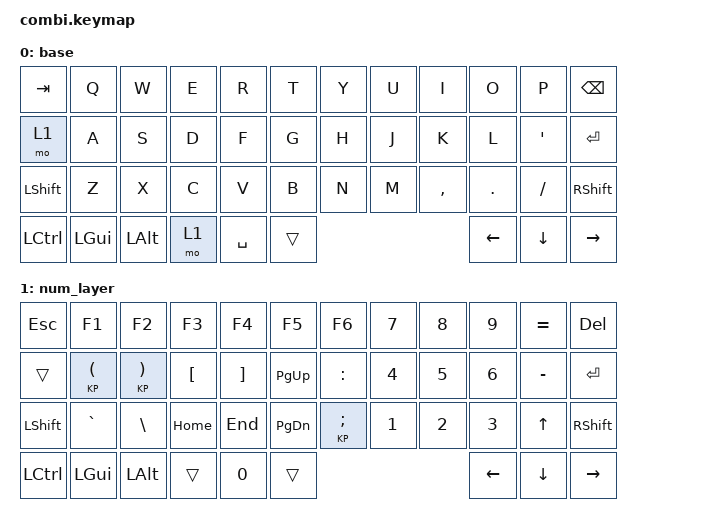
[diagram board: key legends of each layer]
#include <behaviors.dtsi>
#include <dt-bindings/zmk/keys.h>
#include <dt-bindings/zmk/bt.h>
#include <dt-bindings/zmk/outputs.h>

/ {

    behaviors {
        tabesc: tab_escape {
            compatible = "zmk,behavior-mod-morph";
            #binding-cells = <0>;
            bindings = <&kp TAB>, <&kp ESC>;
            mods = <(MOD_LALT|MOD_LSHIFT)>;
            keep-mods = <(MOD_LALT|MOD_LSHIFT)>;
        };

            #binding-cells = <2>;
            tapping-term-ms = <200>;
            quick-tap-ms = <180>;
            require-prior-idle-ms = <0>;
            flavor = "tap-preferred";
        };
    };

    keymap {
        compatible = "zmk,keymap";

        base {

            bindings = <
            
            &kp TAB         &kp Q       &kp W       &kp E       &kp R       &kp T       &kp Y       &kp U       &kp I       &kp O       &kp P        &kp BSPC
            &mo 1           &kp A       &kp S       &kp D       &kp F       &kp G       &kp H       &kp J       &kp K       &kp L       &kp SQT      &kp RET
            &kp LSHFT       &kp Z       &kp X       &kp C       &kp V       &kp B       &kp N       &kp M       &kp COMMA   &kp DOT     &kp SLASH    &kp RSHIFT
            &kp LCTRL       &kp LGUI    &kp LALT    &mo 1       &kp SPACE   &trans                                          &kp LEFT    &kp DOWN     &kp RIGHT

                        >;
        };

        num_layer {

            bindings = <
            
            &kp ESC         &kp F1      &kp F2      &kp F3      &kp F4      &kp F5      &kp F6      &kp N7      &kp N8      &kp N9      &kp EQUAL   &kp DEL
            &trans          &KP LPAR    &KP RPAR    &kp LBKT    &kp RBKT    &kp PG_UP   &kp COLON   &kp N4      &kp N5      &kp N6      &kp MINUS   &kp RET
            &kp LSHFT       &kp GRAVE   &kp BSLH    &kp HOME    &kp END     &kp PG_DN   &KP SEMI    &kp N1      &kp N2      &kp N3      &kp UP      &kp RSHFT
            &kp LCTRL       &kp LGUI    &kp LALT    &trans      &kp N0      &trans                                          &kp LEFT    &kp DOWN     &kp RIGHT
            
            >; 
        };

        fn_layer {
            status = "reserved";
        };

        layer_03 {
            status = "reserved";
        };

        layer_04 {
            status = "reserved";
        };
    };
};
